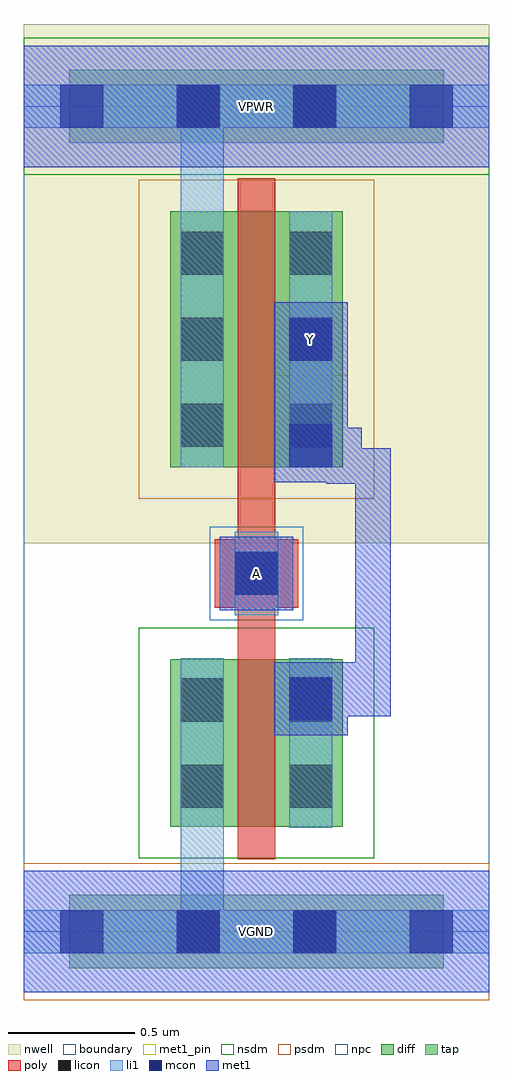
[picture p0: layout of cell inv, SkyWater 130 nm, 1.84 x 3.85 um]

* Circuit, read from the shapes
.subckt inv A VGND VPWR Y
XM1 Y A VGND VGND sky130_fd_pr__nfet_01v8 w=0.66 l=0.15
XM2 Y A VPWR VPWR sky130_fd_pr__pfet_01v8 w=1.01 l=0.15
.ends

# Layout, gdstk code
import gdstk
lib = gdstk.Library(unit=1e-6, precision=1e-09)
def R(c, l, rs):  # rectangles x0, y0, x1, y1
    for r in rs: c.add(gdstk.rectangle(r[:2], r[2:], *l))
def A(c, l, x, y, w, h, nx, ny, dx, dy):  # array of equal rectangles
    R(c, l, [(x+i*dx, y+j*dy, x+i*dx+w, y+j*dy+h) for i in range(nx) for j in range(ny)])
nwell = (64, 20)
diff = (65, 20)
tap = (65, 44)
poly = (66, 20)
licon = (66, 44)
li1 = (67, 20)
mcon = (67, 44)
met1_pin = (68, 16)
met1 = (68, 20)
nsdm = (93, 44)
psdm = (94, 20)
npc = (95, 20)
boundary = (235, 4)

inv = lib.new_cell('inv')
R(inv, nwell, [(0,1.535,1.84,3.585)])
R(inv, diff, [(0.58,0.415,1.26,1.075), (0.58,1.835,1.26,2.845)])
R(inv, tap, [(0.18,-0.145,1.66,0.145), (0.18,3.115,1.66,3.405)])
R(inv, poly, [(0.845,0.285,0.995,2.975), (0.755,1.28,1.085,1.55)])
A(inv, licon, 0.62, 1.915, 0.17, 0.17, 1, 3, 0, 0.34)
A(inv, licon, 1.05, 1.915, 0.17, 0.17, 1, 3, 0, 0.34)
R(inv, licon, [(0.605,-0.085,0.775,0.085), (1.065,-0.085,1.235,0.085), (0.62,0.49,0.79,0.66), (1.05,0.49,1.22,0.66), (0.62,0.83,0.79,1), (1.05,0.83,1.22,1), (0.835,1.33,1.005,1.5), (0.605,3.175,0.775,3.345), (1.065,3.175,1.235,3.345)])
R(inv, li1, [(0,-0.085,1.84,0.085), (0.62,-0.085,0.79,1.08), (0.62,0.41,0.79,1.08), (1.05,0.41,1.22,1.08), (0.835,1.25,1.005,1.58), (0.62,1.835,0.79,2.845), (0.62,1.835,0.79,3.345), (1.05,1.835,1.22,2.845), (0,3.175,1.84,3.345)])
A(inv, mcon, 0.145, -0.085, 0.17, 0.17, 4, 2, 0.46, 3.26)
R(inv, mcon, [(1.05,0.835,1.22,1.005), (0.835,1.33,1.005,1.5), (1.05,1.835,1.22,2.005), (1.05,2.255,1.22,2.425)])
R(inv, met1_pin, [(0,-0.24,1.84,0.24), (0.775,1.27,1.065,1.56), (0.99,2.195,1.28,2.485), (0,3.02,1.84,3.5)])
R(inv, met1, [(0,-0.24,1.84,0.24), (0.99,0.775,1.28,1.065), (1.065,0.85,1.335,0.99), (1.195,0.85,1.45,0.99), (1.28,0.85,1.31,1.065), (1.31,0.85,1.45,1.91), (0.775,1.27,1.065,1.56), (1.195,1.77,1.335,1.99), (1.195,1.77,1.45,1.91), (0.99,1.775,1.28,2.065), (1.065,1.85,1.335,1.99), (0.99,2.065,1.28,2.195), (0.99,2.195,1.28,2.485), (0,3.02,1.84,3.5)])
R(inv, nsdm, [(0.455,0.29,1.385,1.2), (0,2.99,1.84,3.53)])
R(inv, psdm, [(0,-0.27,1.84,0.27), (0.455,1.71,1.385,2.97)])
R(inv, npc, [(0.735,1.23,1.105,1.6)])
R(inv, boundary, [(0,0,1.84,3.26)])
inv.add(gdstk.Label('A', (0.92,1.415), layer=68, texttype=5))
inv.add(gdstk.Label('Y', (1.135,2.34), layer=68, texttype=5))
inv.add(gdstk.Label('VPWR', (0.92,3.26), layer=68, texttype=5))
inv.add(gdstk.Label('VGND', (0.92,0), layer=68, texttype=5))
inv.add(gdstk.Label('A', (0.92,1.415), layer=68, texttype=16))
inv.add(gdstk.Label('Y', (1.135,2.34), layer=68, texttype=16))
inv.add(gdstk.Label('VPWR', (0.92,3.26), layer=68, texttype=16))
inv.add(gdstk.Label('VGND', (0.92,0), layer=68, texttype=16))

lib.write_gds('inv.gds')
